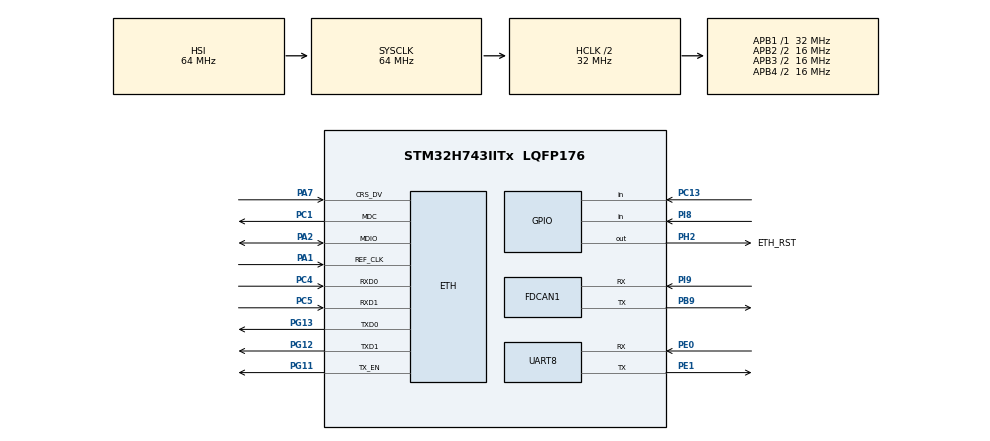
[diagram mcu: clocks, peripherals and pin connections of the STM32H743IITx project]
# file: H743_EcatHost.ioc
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ETH.MediaInterface=HAL_ETH_RMII_MODE
FDCAN1.AutoRetransmission=ENABLE
FDCAN1.CalculateBaudRateNominal=499999
FDCAN1.CalculateTimeBitNominal=2000
FDCAN1.CalculateTimeQuantumNominal=33.333333333333336
FDCAN1.DataSyncJumpWidth=3
FDCAN1.DataTimeSeg1=11
FDCAN1.DataTimeSeg2=3
FDCAN1.FrameFormat=FDCAN_FRAME_FD_BRS
FDCAN1.NominalPrescaler=1
FDCAN1.NominalSyncJumpWidth=7
FDCAN1.NominalTimeSeg1=52
FDCAN1.NominalTimeSeg2=7
FDCAN1.RxFifo0ElmtSize=FDCAN_DATA_BYTES_64
FDCAN1.RxFifo0ElmtsNbr=8
FDCAN1.StdFiltersNbr=1
FDCAN1.TxElmtSize=FDCAN_DATA_BYTES_64
FDCAN1.TxFifoQueueElmtsNbr=8
FREERTOS.Tasks01=defaultTask,40,1024,StartDefaultTask,Default,NULL,Dynamic,NULL,NULL
Mcu.Family=STM32H7
Mcu.Name=STM32H743IITx
Mcu.Package=LQFP176
NVIC.FDCAN1_IT0_IRQn=true\:5\:0\:false\:false\:true\:true\:true\:true\:true
NVIC.PriorityGroup=NVIC_PRIORITYGROUP_4
NVIC.TIM6_DAC_IRQn=true\:15\:0\:false\:false\:true\:false\:false\:true\:true
NVIC.TimeBase=TIM6_DAC_IRQn
NVIC.TimeBaseIP=TIM6
PA1.Mode=RMII
PA1.Signal=ETH_REF_CLK
PA13\ (JTMS/SWDIO).Mode=Serial_Wire
PA13\ (JTMS/SWDIO).Signal=DEBUG_JTMS-SWDIO
PA14\ (JTCK/SWCLK).Mode=Serial_Wire
PA14\ (JTCK/SWCLK).Signal=DEBUG_JTCK-SWCLK
PA2.Mode=RMII
PA2.Signal=ETH_MDIO
PA7.Mode=RMII
PA7.Signal=ETH_CRS_DV
PB9.GPIO_Speed=GPIO_SPEED_FREQ_VERY_HIGH
PB9.Mode=FDCAN_Activate
PB9.Signal=FDCAN1_TX
PC1.Mode=RMII
PC1.Signal=ETH_MDC
PC13.Signal=GPIO_Input
PC4.Mode=RMII
PC4.Signal=ETH_RXD0
PC5.Mode=RMII
PC5.Signal=ETH_RXD1
PE0.Mode=Asynchronous
PE0.Signal=UART8_RX
PE1.Mode=Asynchronous
PE1.Signal=UART8_TX
PG11.Mode=RMII
PG11.Signal=ETH_TX_EN
PG12.Mode=RMII
PG12.Signal=ETH_TXD1
PG13.Mode=RMII
PG13.Signal=ETH_TXD0
PH0-OSC_IN\ (PH0).Mode=HSE-External-Oscillator
PH0-OSC_IN\ (PH0).Signal=RCC_OSC_IN
PH1-OSC_OUT\ (PH1).Mode=HSE-External-Oscillator
PH1-OSC_OUT\ (PH1).Signal=RCC_OSC_OUT
PH2.GPIO_Label=ETH_RST
PH2.GPIO_PuPd=GPIO_NOPULL
PH2.PinState=GPIO_PIN_SET
PH2.Signal=GPIO_Output
PI8.Signal=GPIO_Input
PI9.Mode=FDCAN_Activate
PI9.Signal=FDCAN1_RX
ProjectManager.HeapSize=0x200
ProjectManager.StackSize=0x400
ProjectManager.TargetToolchain=MDK-ARM V5.32
RCC.ADCFreq_Value=75000000
RCC.APB1Freq_Value=32000000
RCC.APB2Freq_Value=16000000
RCC.APB3Freq_Value=16000000
RCC.APB4Freq_Value=16000000
RCC.CortexFreq_Value=64000000
RCC.D1PPRE=RCC_APB3_DIV2
RCC.D2PPRE2=RCC_APB2_DIV2
RCC.D3PPRE=RCC_APB4_DIV2
RCC.DIVM1=2
RCC.DIVM2=2
RCC.DIVN1=12
RCC.DIVN2=12
RCC.DIVQ1=3
RCC.DIVQ2=5
RCC.DIVR1=4
RCC.FDCANCLockSelection=RCC_FDCANCLKSOURCE_PLL2
RCC.HCLKFreq_Value=32000000
RCC.HPRE=RCC_HCLK_DIV2
RCC.PLL2FRACN=0
RCC.PLLFRACN=0
RCC.PLLSourceVirtual=RCC_PLLSOURCE_HSE
RCC.SYSCLKFreq_VALUE=64000000
RCC.USBFreq_Value=50000000
VP_FREERTOS_VS_CMSIS_V2.Mode=CMSIS_V2
VP_SYS_VS_tim6.Mode=TIM6
board=custom

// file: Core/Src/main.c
/* USER CODE BEGIN Header */
/**
  ******************************************************************************
  * @file           : main.c
  * @brief          : Main program body
  ******************************************************************************
  * @attention
  *
  * Copyright (c) 2026 STMicroelectronics.
  * All rights reserved.
  *
  * This software is licensed under terms that can be found in the LICENSE file
  * in the root directory of this software component.
  * If no LICENSE file comes with this software, it is provided AS-IS.
  *
  ******************************************************************************
  */
/* USER CODE END Header */
#include "main.h"
#include "cmsis_os.h"
#include "eth.h"
#include "fdcan.h"
#include "usart.h"
#include "gpio.h"

/* USER CODE BEGIN Includes */
#include "bsp_lan8720.h"
#include "bsp_key.h"
#include "bsp_soem_timebase.h"
#include "ECAT.h"
#include "app_can.h"
/* USER CODE END Includes */

void SystemClock_Config(void);
void MX_FREERTOS_Init(void);

int main(void)
{

  /* MCU Configuration--------------------------------------------------------*/

  /* Reset of all peripherals, Initializes the Flash interface and the Systick. */
  HAL_Init();

  /* Configure the system clock */
  SystemClock_Config();

  /* USER CODE BEGIN SysInit */
  BSP_SOEM_Timebase_Init();

  /* USER CODE END SysInit */

  /* Initialize all configured peripherals */
  MX_GPIO_Init();
  MX_ETH_Init();
  MX_UART8_Init();
  MX_FDCAN1_Init();
  /* USER CODE BEGIN 2 */
  BSP_Key_Init();
  if (LAN8720_SetModeAndSoftReset(
        LAN8720_MODE_ALL_CAPABLE_AUTONEG) != 0U)
  {
    (void)LAN8720_ReadID();
  }
  /* FDCAN底层就绪后初始化应用协议过滤器并启动控制器。 */
  if (APP_CAN_Init() != APP_CAN_OK)
  {
    Error_Handler();
  }
  /* USER CODE END 2 */

  /* Init scheduler */
  osKernelInitialize();  /* Call init function for freertos objects (in freertos.c) */
  MX_FREERTOS_Init();

  /* Start scheduler */
  osKernelStart();
  /* We should never get here as control is now taken by the scheduler */
  /* Infinite loop */
  while (1)
  {

  }
}

void SystemClock_Config(void)
{
  RCC_OscInitTypeDef RCC_OscInitStruct = {0};
  RCC_ClkInitTypeDef RCC_ClkInitStruct = {0};

  /** Supply configuration update enable
  */
  HAL_PWREx_ConfigSupply(PWR_LDO_SUPPLY);

  /** Configure the main internal regulator output voltage
  */
  __HAL_PWR_VOLTAGESCALING_CONFIG(PWR_REGULATOR_VOLTAGE_SCALE3);

  while(!__HAL_PWR_GET_FLAG(PWR_FLAG_VOSRDY)) {}

  /** Macro to configure the PLL clock source
  */
  __HAL_RCC_PLL_PLLSOURCE_CONFIG(RCC_PLLSOURCE_HSE);

  /** Initializes the RCC Oscillators according to the specified parameters
  * in the RCC_OscInitTypeDef structure.
  */
  RCC_OscInitStruct.OscillatorType = RCC_OSCILLATORTYPE_HSI|RCC_OSCILLATORTYPE_HSE;
  RCC_OscInitStruct.HSEState = RCC_HSE_ON;
  RCC_OscInitStruct.HSIState = RCC_HSI_DIV1;
  RCC_OscInitStruct.HSICalibrationValue = RCC_HSICALIBRATION_DEFAULT;
  RCC_OscInitStruct.PLL.PLLState = RCC_PLL_NONE;
  if (HAL_RCC_OscConfig(&RCC_OscInitStruct) != HAL_OK)
  {
    Error_Handler();
  }

  /** Initializes the CPU, AHB and APB buses clocks
  */
  RCC_ClkInitStruct.ClockType = RCC_CLOCKTYPE_HCLK|RCC_CLOCKTYPE_SYSCLK
                              |RCC_CLOCKTYPE_PCLK1|RCC_CLOCKTYPE_PCLK2
                              |RCC_CLOCKTYPE_D3PCLK1|RCC_CLOCKTYPE_D1PCLK1;
  RCC_ClkInitStruct.SYSCLKSource = RCC_SYSCLKSOURCE_HSI;
  RCC_ClkInitStruct.SYSCLKDivider = RCC_SYSCLK_DIV1;
  RCC_ClkInitStruct.AHBCLKDivider = RCC_HCLK_DIV2;
  RCC_ClkInitStruct.APB3CLKDivider = RCC_APB3_DIV2;
  RCC_ClkInitStruct.APB1CLKDivider = RCC_APB1_DIV1;
  RCC_ClkInitStruct.APB2CLKDivider = RCC_APB2_DIV2;
  RCC_ClkInitStruct.APB4CLKDivider = RCC_APB4_DIV2;

  if (HAL_RCC_ClockConfig(&RCC_ClkInitStruct, FLASH_LATENCY_0) != HAL_OK)
  {
    Error_Handler();
  }
}

void HAL_TIM_PeriodElapsedCallback(TIM_HandleTypeDef *htim)
{
  if (htim->Instance == TIM6) {
    HAL_IncTick();
  }
}

void Error_Handler(void)
{
  __disable_irq();
  while (1)
  {
  }
}

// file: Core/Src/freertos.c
/* USER CODE BEGIN Header */
/**
  ******************************************************************************
  * File Name          : freertos.c
  * Description        : Code for freertos applications
  ******************************************************************************
  * @attention
  *
  * Copyright (c) 2026 STMicroelectronics.
  * All rights reserved.
  *
  * This software is licensed under terms that can be found in the LICENSE file
  * in the root directory of this software component.
  * If no LICENSE file comes with this software, it is provided AS-IS.
  *
  ******************************************************************************
  */
/* USER CODE END Header */

#include "FreeRTOS.h"
#include "task.h"
#include "main.h"
#include "cmsis_os.h"

/* USER CODE BEGIN Includes */
#include "bsp_key.h"
#include "bsp_can.h"
#include "ECAT.h"
#include "app_can.h"
#include "app_uart_log.h"
/* USER CODE END Includes */

/* USER CODE BEGIN PD */
#define APP_SOEM_TASK_CYCLE_TICKS  pdMS_TO_TICKS(2U)
#define APP_SOEM_TASK_STACK_BYTES  (1024U * 4U)
#define APP_SOEM_TASK_PRIORITY     ((osPriority_t)osPriorityHigh)
#define APP_UART_LOG_TASK_STACK_BYTES  (1024U * 2U)

/* USER CODE END PD */

/* USER CODE BEGIN Variables */
osThreadId_t txPdoReportTaskHandle;
const osThreadAttr_t txPdoReportTask_attributes = {
  .name = "txPdoReport",
  .stack_size = 1024 * 2,
  .priority = (osPriority_t) osPriorityLow,
};
osThreadId_t sdoWorkerTaskHandle;
const osThreadAttr_t sdoWorkerTask_attributes = {
  .name = "sdoWorker",
  .stack_size = 1024 * 2,
  .priority = (osPriority_t) osPriorityLow,
};
osThreadId_t canServiceTaskHandle;
const osThreadAttr_t canServiceTask_attributes = {
  .name = "canService",
  .stack_size = 1024,
  .priority = (osPriority_t) osPriorityNormal,
};
osThreadId_t uartLogTaskHandle;
static StaticTask_t uartLogTaskControlBlock;
static StackType_t uartLogTaskStack[
  APP_UART_LOG_TASK_STACK_BYTES / sizeof(StackType_t)];
const osThreadAttr_t uartLogTask_attributes = {
  .name = "uartLog",
  .cb_mem = &uartLogTaskControlBlock,
  .cb_size = sizeof(uartLogTaskControlBlock),
  .stack_mem = uartLogTaskStack,
  .stack_size = sizeof(uartLogTaskStack),
  .priority = (osPriority_t) osPriorityLow,
};
volatile uint32_t ecat_dbg_delay_blocked;
volatile uint32_t ecat_dbg_delay_immediate;
volatile uint32_t ecat_dbg_can_delay_blocked;
volatile uint32_t ecat_dbg_can_delay_immediate;

/* USER CODE END Variables */
/* Definitions for defaultTask */
osThreadId_t defaultTaskHandle;
const osThreadAttr_t defaultTask_attributes = {
  .name = "defaultTask",
  .stack_size = 1024 * 4,
  .priority = (osPriority_t) osPriorityHigh,
};

/* USER CODE BEGIN FunctionPrototypes */
void StartTxPdoReportTask(void *argument);
void StartSdoWorkerTask(void *argument);
void StartCanServiceTask(void *argument);
void StartUartLogTask(void *argument);

/* USER CODE END FunctionPrototypes */

void StartDefaultTask(void *argument);

void MX_FREERTOS_Init(void); /* (MISRA C 2004 rule 8.1) */

void MX_FREERTOS_Init(void) {

  /* Create the thread(s) */
  /* creation of defaultTask */
  defaultTaskHandle = osThreadNew(StartDefaultTask, NULL, &defaultTask_attributes);

  /* USER CODE BEGIN RTOS_THREADS */
  /* Decode and print the periodic TxPDO snapshot outside the 2 ms task. */
  txPdoReportTaskHandle = osThreadNew(StartTxPdoReportTask, NULL, &txPdoReportTask_attributes);
  sdoWorkerTaskHandle = osThreadNew(StartSdoWorkerTask, NULL, &sdoWorkerTask_attributes);
  /* CAN任务处理收发、命令超时监测和Bus-Off恢复。 */
  canServiceTaskHandle = osThreadNew(StartCanServiceTask, NULL, &canServiceTask_attributes);
  if (APP_UART_LOG_Init() != 0U)
  {
    uartLogTaskHandle = osThreadNew(StartUartLogTask, NULL, &uartLogTask_attributes);
  }
  /* Queue startup diagnostics before the scheduler starts the log consumer. */
  ECAT_Init();
  /* USER CODE END RTOS_THREADS */

}

void StartDefaultTask(void *argument)
{
  /* USER CODE BEGIN StartDefaultTask */
  TickType_t last_wake_tick = 0U;
  TickType_t wake_tick;
  TickType_t delay_entry_tick;
  TickType_t delay_exit_tick;
  uint8_t op_cycle_active = 0U;
  uint8_t enable_request_accepted = 0U;

  (void)argument;

  /* Infinite loop */
  for(;;)
  {
    BSP_Key_Process2ms();
    ECAT_Process();

    if (ECAT_GetState() == ECAT_STATE_OPERATIONAL)
    {
      if ((enable_request_accepted == 0U) &&
          (ECAT_RequestEnableOperation() != 0U))
      {
        enable_request_accepted = 1U;
      }

      if (op_cycle_active == 0U)
      {
        last_wake_tick = xTaskGetTickCount();
        op_cycle_active = 1U;
      }

      delay_entry_tick = xTaskGetTickCount();
      vTaskDelayUntil(&last_wake_tick, APP_SOEM_TASK_CYCLE_TICKS);
      delay_exit_tick = xTaskGetTickCount();

      if (delay_exit_tick == delay_entry_tick)
      {
        ecat_dbg_delay_immediate++;
      }
      else
      {
        ecat_dbg_delay_blocked++;
      }

      /* Drop an overdue release instead of sending catch-up frames. */
      wake_tick = xTaskGetTickCount();
      if (wake_tick != last_wake_tick)
      {
        last_wake_tick = wake_tick;
      }
    }
    else
    {
      op_cycle_active = 0U;
      enable_request_accepted = 0U;
      vTaskDelay(pdMS_TO_TICKS(1U));
    }
  }
  /* USER CODE END StartDefaultTask */
}

/* USER CODE BEGIN Application */
void StartTxPdoReportTask(void *argument)
{
  (void)argument;

  for (;;)
  {
    ECAT_ProcessTxPdoReport();
    vTaskDelay(pdMS_TO_TICKS(1U));
  }
}

void StartSdoWorkerTask(void *argument)
{
  (void)argument;

  for (;;)
  {
    ECAT_ProcessRuntimeSdoWorker();
    vTaskDelay(pdMS_TO_TICKS(1U));
  }
}

void StartCanServiceTask(void *argument)
{
  TickType_t last_wake_tick = xTaskGetTickCount();
  TickType_t delay_entry_tick;
  TickType_t delay_exit_tick;
  uint32_t current_tick_ms;

  (void)argument;

  for (;;)
  {
    /* 依次执行维护、收包解析、超时判断和非阻塞周期发送。 */
    BSP_CAN_Process();
    APP_CAN_ProcessRx();
    current_tick_ms = HAL_GetTick();
    APP_CAN_CheckTimeout(current_tick_ms);
    APP_CAN_ProcessTx(current_tick_ms);

    delay_entry_tick = xTaskGetTickCount();
    vTaskDelayUntil(&last_wake_tick, pdMS_TO_TICKS(1U));
    delay_exit_tick = xTaskGetTickCount();

    if (delay_exit_tick == delay_entry_tick)
    {
      ecat_dbg_can_delay_immediate++;
    }
    else
    {
      ecat_dbg_can_delay_blocked++;
    }

    /* Drop overdue CAN service releases instead of running catch-up loops. */
    if (delay_exit_tick != last_wake_tick)
    {
      last_wake_tick = delay_exit_tick;
    }
  }
}

void StartUartLogTask(void *argument)
{
  (void)argument;

  for (;;)
  {
    APP_UART_LOG_Process();
  }
}

/* USER CODE END Application */
